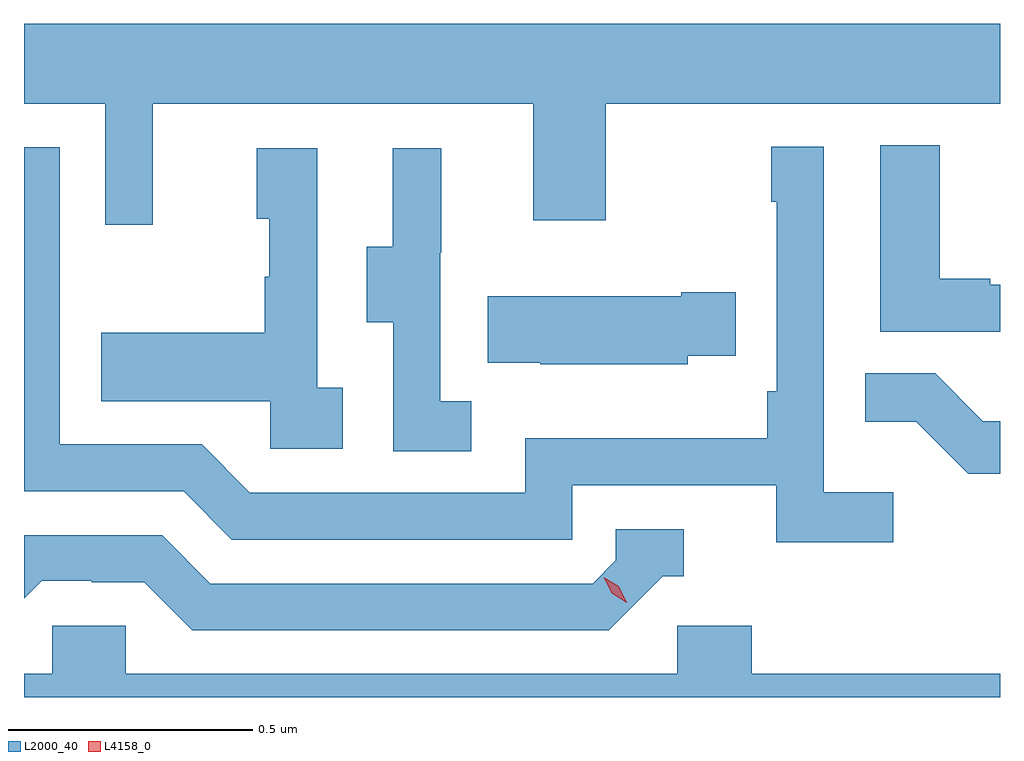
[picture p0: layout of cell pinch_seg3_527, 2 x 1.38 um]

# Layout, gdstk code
import gdstk
lib = gdstk.Library(unit=1e-6, precision=1e-09)
def P(c, l, *ps):  # polygons
    for p in ps: c.add(gdstk.Polygon(p, *l))
L2000_40 = (2000, 40)
L4158_0 = (4158, 0)

pinch_seg3_527 = lib.new_cell('pinch_seg3_527')
P(pinch_seg3_527, L2000_40, [(969.953,667.616),(970.733,667.616),(970.733,667.377),(970.881,667.377),(970.881,667.616),(971.689,667.616),(971.689,667.78),(969.689,667.78),(969.689,667.616),(969.855,667.616),(969.855,667.368),(969.953,667.368)],
  [(971.689,667.245),(971.669,667.245),(971.669,667.258),(971.566,667.258),(971.566,667.531),(971.444,667.531),(971.444,667.149),(971.689,667.149)],
  [(971.47,666.82),(971.328,666.82),(971.328,667.528),(971.22,667.528),(971.22,667.415),(971.232,667.415),(971.232,667.027),(971.212,667.027),(971.212,666.931),(970.716,666.931),(970.716,666.819),(970.152,666.819),(970.053,666.918),(969.762,666.918),(969.762,667.527),(969.689,667.527),(969.689,666.822),(970.016,666.822),(970.115,666.723),(970.812,666.723),(970.812,666.834),(971.231,666.834),(971.231,666.718),(971.47,666.718)],
  [(970.606,667.007),(970.542,667.007),(970.542,667.311),(970.544,667.311),(970.544,667.525),(970.445,667.525),(970.445,667.323),(970.391,667.323),(970.391,667.168),(970.446,667.168),(970.446,666.904),(970.606,666.904)],
  [(970.342,667.034),(970.29,667.034),(970.29,667.525),(970.166,667.525),(970.166,667.38),(970.192,667.38),(970.192,667.262),(970.182,667.262),(970.182,667.147),(969.847,667.147),(969.847,667.007),(970.194,667.007),(970.194,666.909),(970.342,666.909)],
  [(971.049,667.1),(971.147,667.1),(971.147,667.23),(971.036,667.23),(971.036,667.222),(970.639,667.222),(970.639,667.085),(970.747,667.085),(970.747,667.082),(971.049,667.082)],
  [(971.689,666.966),(971.654,666.966),(971.556,667.064),(971.413,667.064),(971.413,666.965),(971.517,666.965),(971.624,666.858),(971.689,666.858)],
  [(970.998,666.648),(971.041,666.648),(971.041,666.744),(970.902,666.744),(970.902,666.681),(970.854,666.633),(970.071,666.633),(969.972,666.732),(969.689,666.732),(969.689,666.603),(969.725,666.639),(969.828,666.639),(969.828,666.636),(969.935,666.636),(970.034,666.537),(970.887,666.537)],
  [(971.689,666.448),(971.18,666.448),(971.18,666.546),(971.028,666.546),(971.028,666.448),(969.897,666.448),(969.897,666.546),(969.747,666.546),(969.747,666.448),(969.689,666.448),(969.689,666.4),(971.689,666.4)])
P(pinch_seg3_527, L4158_0, [(970.924,666.594),(970.893,666.613),(970.877,666.646),(970.877,666.646),(970.877,666.646),(970.908,666.627),(970.924,666.594),(970.924,666.594)])

lib.write_gds('pinch_seg3_527.gds')
